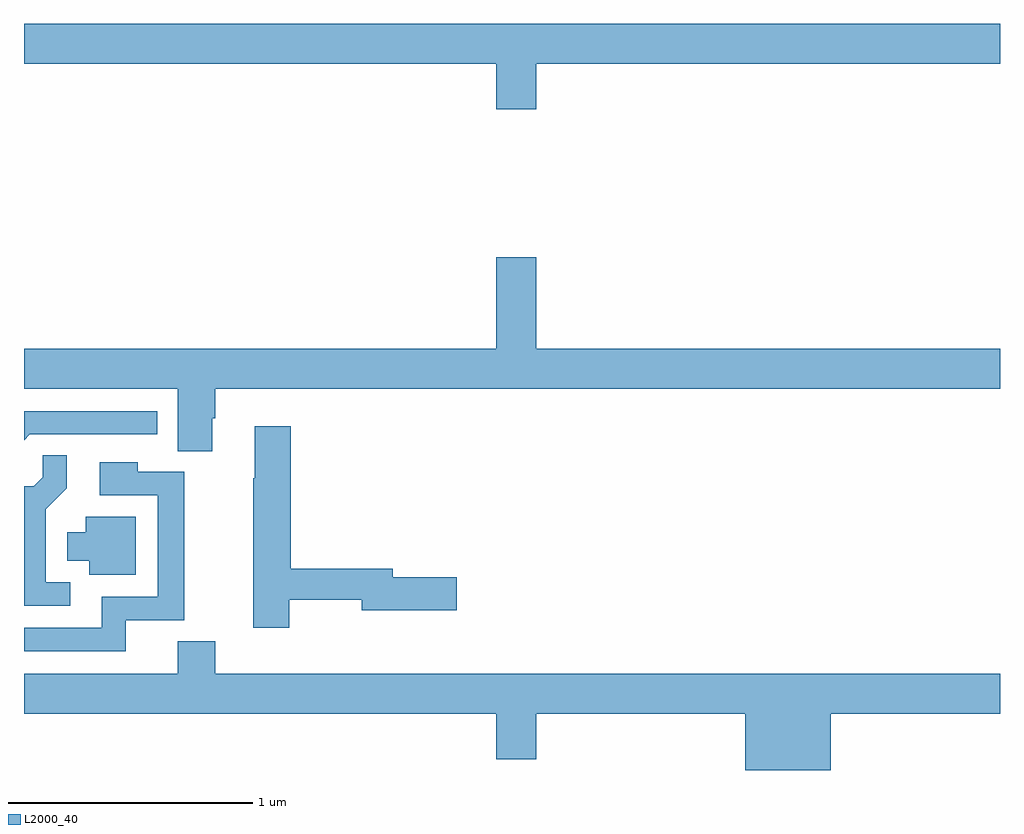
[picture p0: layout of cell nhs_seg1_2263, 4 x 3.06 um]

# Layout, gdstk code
import gdstk
lib = gdstk.Library(unit=1e-6, precision=1e-09)
def P(c, l, *ps):  # polygons
    for p in ps: c.add(gdstk.Polygon(p, *l))
L2000_40 = (2000, 40)

nhs_seg1_2263 = lib.new_cell('nhs_seg1_2263')
P(nhs_seg1_2263, L2000_40, [(237.1,521.096),(239,521.096),(239,521.26),(235,521.26),(235,521.096),(236.936,521.096),(236.936,520.908),(237.1,520.908)],
  [(235.771,519.642),(235.784,519.642),(235.784,519.764),(239,519.764),(239,519.928),(237.1,519.928),(237.1,520.303),(236.936,520.303),(236.936,519.928),(235,519.928),(235,519.764),(235.631,519.764),(235.631,519.508),(235.771,519.508)],
  [(235.023,519.576),(235.546,519.576),(235.546,519.672),(235,519.672),(235,519.553)],
  [(236.088,518.898),(236.384,518.898),(236.384,518.855),(236.773,518.855),(236.773,518.99),(236.512,518.99),(236.512,519.026),(236.093,519.026),(236.093,519.61),(235.946,519.61),(235.946,519.397),(235.939,519.397),(235.939,518.784),(236.088,518.784)],
  [(235.189,518.97),(235.089,518.97),(235.089,519.269),(235.175,519.355),(235.175,519.491),(235.077,519.491),(235.077,519.4),(235.04,519.363),(235,519.363),(235,518.874),(235.189,518.874)],
  [(235.418,518.814),(235.657,518.814),(235.657,519.423),(235.467,519.423),(235.467,519.463),(235.311,519.463),(235.311,519.327),(235.548,519.327),(235.548,518.91),(235.319,518.91),(235.319,518.784),(235,518.784),(235,518.688),(235.418,518.688)],
  [(235.459,519.238),(235.253,519.238),(235.253,519.175),(235.178,519.175),(235.178,519.059),(235.268,519.059),(235.268,519.002),(235.459,519.002)],
  [(238.306,518.432),(239,518.432),(239,518.596),(235.784,518.596),(235.784,518.729),(235.631,518.729),(235.631,518.596),(235,518.596),(235,518.432),(236.936,518.432),(236.936,518.244),(237.1,518.244),(237.1,518.432),(237.956,518.432),(237.956,518.199),(238.306,518.199)])

lib.write_gds('nhs_seg1_2263.gds')
